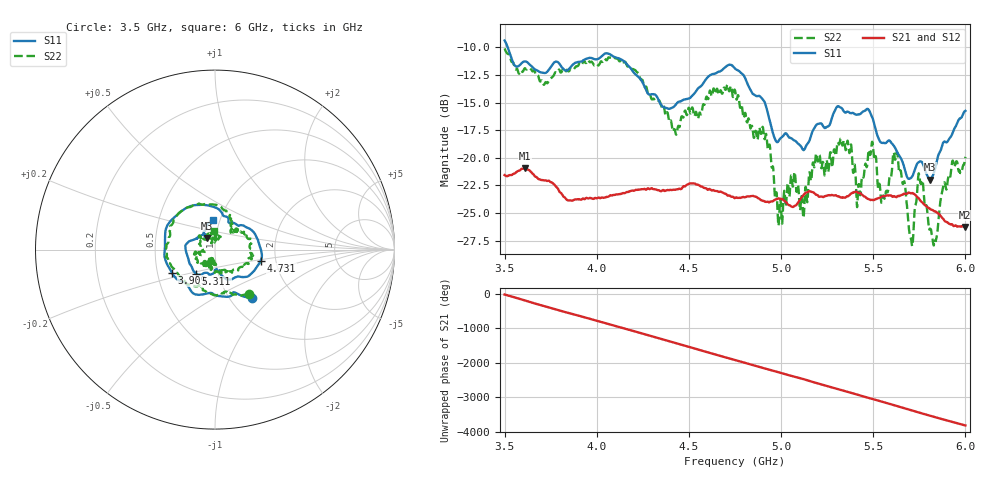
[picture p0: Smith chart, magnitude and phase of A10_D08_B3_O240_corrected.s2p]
! Created with skrf 1.9.0 (http://scikit-rf.org).
# Hz S RI R 50.0
!freq ReS11 ImS11 ReS21 ImS21 ReS12 ImS12 ReS22 ImS22
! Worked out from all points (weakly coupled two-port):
!   1601 points, 3.5 GHz to 6 GHz, reference 50 ohm
!   highest |S21| = -20.94 dB at 3.611 GHz (marker M1); lowest = -26.3 dB at 5.997 GHz (marker M2)
!   lowest |S11| = -22.0 dB at 5.809 GHz (marker M3), VSWR 1.17, Z = 45.2 + j5.88 ohm
!   |S11| at or under -10 dB: 3.517 GHz to end of sweep
!   |S22| runs from -28.0 to -10.1 dB; largest |S21 - S12| = 0.0011
!   S11 on the Smith chart (normalised r, x): 3.5 GHz: 1.26, -0.77; 3.909 GHz: 0.60, -0.17; 4.731 GHz: 1.67, -0.22; 5.311 GHz: 0.78, -0.22; 6 GHz: 0.92, +0.31
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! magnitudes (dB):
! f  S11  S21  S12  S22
! 3.5 GHz  -9.4  -21.6  -21.5  -10.1
! 3.611 GHz  -11.3  -20.9  -21.0  -11.9
! 3.909 GHz  -11.3  -23.8  -23.7  -11.4
! 3.917 GHz  -11.3  -23.8  -23.8  -11.5
! 4.334 GHz  -14.7  -22.9  -22.9  -14.8
! 4.425 GHz  -15.3  -22.9  -22.9  -17.6
! 4.731 GHz  -11.6  -23.5  -23.5  -13.6
! 4.75 GHz  -11.9  -23.7  -23.6  -13.9
! 4.911 GHz  -15.0  -23.9  -23.9  -18.3
! 4.995 GHz  -18.3  -23.7  -23.7  -23.8
! 5.167 GHz  -17.7  -23.1  -23.1  -21.4
! 5.311 GHz  -15.3  -23.5  -23.5  -18.7
! 5.42 GHz  -16.1  -23.2  -23.2  -22.4
! 5.487 GHz  -16.1  -23.8  -23.8  -19.4
! 5.55 GHz  -18.6  -23.5  -23.5  -23.7
! 5.584 GHz  -18.4  -23.4  -23.4  -22.4
! 5.623 GHz  -19.2  -23.6  -23.6  -19.8
! 5.706 GHz  -21.8  -23.2  -23.2  -27.4
! 5.756 GHz  -20.3  -23.9  -23.9  -22.3
! 5.809 GHz  -22.0  -24.6  -24.6  -26.4
! 5.997 GHz  -15.8  -26.3  -26.2  -20.3
! 6 GHz  -15.7  -26.2  -26.2  -19.9
